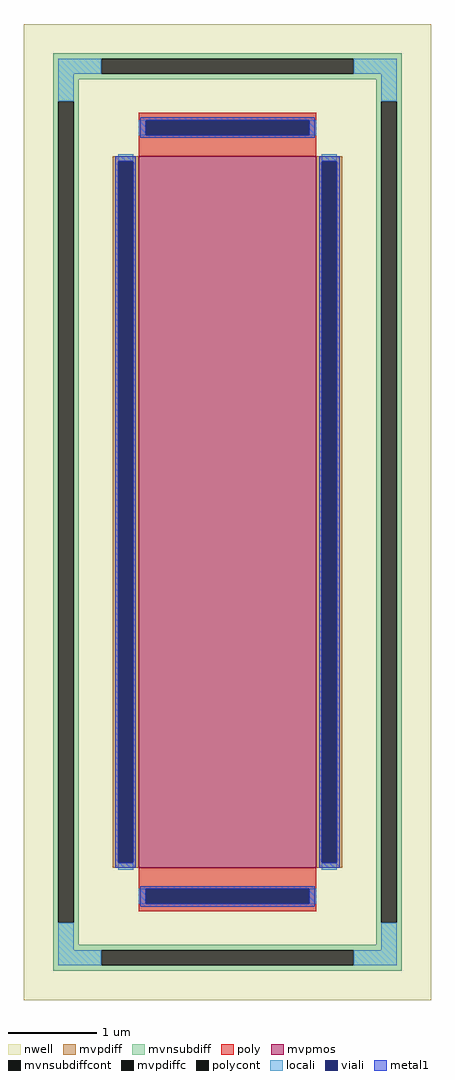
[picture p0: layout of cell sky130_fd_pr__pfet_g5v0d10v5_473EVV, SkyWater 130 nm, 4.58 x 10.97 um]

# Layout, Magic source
magic
tech sky130A
magscale 1 2
<< nwell >>
rect -458 -1097 458 1097
<< mvpmos >>
rect -200 -800 200 800
<< mvpdiff >>
rect -258 788 -200 800
rect -258 -788 -246 788
rect -212 -788 -200 788
rect -258 -800 -200 -788
rect 200 788 258 800
rect 200 -788 212 788
rect 246 -788 258 788
rect 200 -800 258 -788
<< mvpdiffc >>
rect -246 -788 -212 788
rect 212 -788 246 788
<< mvnsubdiff >>
rect -392 1019 392 1031
rect -392 985 -284 1019
rect 284 985 392 1019
rect -392 973 392 985
rect -392 923 -334 973
rect -392 -923 -380 923
rect -346 -923 -334 923
rect 334 923 392 973
rect -392 -973 -334 -923
rect 334 -923 346 923
rect 380 -923 392 923
rect 334 -973 392 -923
rect -392 -985 392 -973
rect -392 -1019 -284 -985
rect 284 -1019 392 -985
rect -392 -1031 392 -1019
<< mvnsubdiffcont >>
rect -284 985 284 1019
rect -380 -923 -346 923
rect 346 -923 380 923
rect -284 -1019 284 -985
<< poly >>
rect -200 881 200 897
rect -200 847 -184 881
rect 184 847 200 881
rect -200 800 200 847
rect -200 -847 200 -800
rect -200 -881 -184 -847
rect 184 -881 200 -847
rect -200 -897 200 -881
<< polycont >>
rect -184 847 184 881
rect -184 -881 184 -847
<< locali >>
rect -380 985 -284 1019
rect 284 985 380 1019
rect -380 923 -346 985
rect 346 923 380 985
rect -200 847 -184 881
rect 184 847 200 881
rect -246 788 -212 804
rect -246 -804 -212 -788
rect 212 788 246 804
rect 212 -804 246 -788
rect -200 -881 -184 -847
rect 184 -881 200 -847
rect -380 -985 -346 -923
rect 346 -985 380 -923
rect -380 -1019 -284 -985
rect 284 -1019 380 -985
<< viali >>
rect -184 847 184 881
rect -246 -788 -212 788
rect 212 -788 246 788
rect -184 -881 184 -847
<< metal1 >>
rect -196 881 196 887
rect -196 847 -184 881
rect 184 847 196 881
rect -196 841 196 847
rect -252 788 -206 800
rect -252 -788 -246 788
rect -212 -788 -206 788
rect -252 -800 -206 -788
rect 206 788 252 800
rect 206 -788 212 788
rect 246 -788 252 788
rect 206 -800 252 -788
rect -196 -847 196 -841
rect -196 -881 -184 -847
rect 184 -881 196 -847
rect -196 -887 196 -881
<< properties >>
string FIXED_BBOX -363 -1002 363 1002
string gencell sky130_fd_pr__pfet_g5v0d10v5
string library sky130
string parameters w 8.0 l 2.0 m 1 nf 1 diffcov 100 polycov 100 guard 1 glc 1 grc 1 gtc 1 gbc 1 tbcov 100 rlcov 100 topc 1 botc 1 poverlap 0 doverlap 1 lmin 0.50 wmin 0.42 compatible {sky130_fd_pr__pfet_01v8  sky130_fd_pr__pfet_01v8_lvt sky130_fd_pr__pfet_01v8_hvt  sky130_fd_pr__pfet_g5v0d10v5} full_metal 1 viasrc 100 viadrn 100 viagate 100 viagb 0 viagr 0 viagl 0 viagt 0
<< end >>
